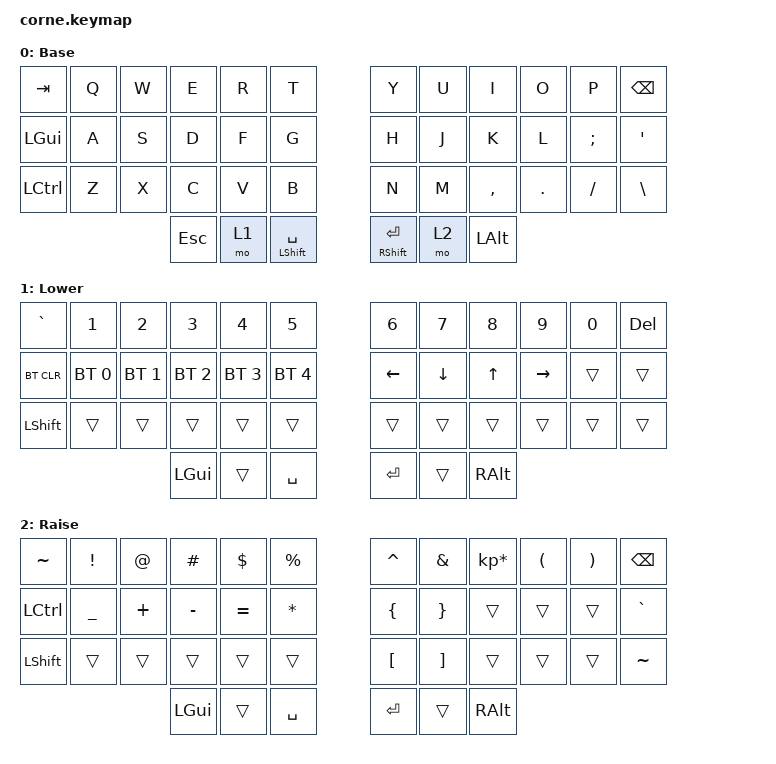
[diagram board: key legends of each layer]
l/*
 * Copyright (c) 2020 The ZMK Contributors
 *
 * SPDX-License-Identifier: MIT
 */

#include <behaviors.dtsi>
#include <dt-bindings/zmk/keys.h>
#include <dt-bindings/zmk/bt.h>

/ {
        keymap {
                compatible = "zmk,keymap";

                default_layer {
// -----------------------------------------------------------------------------------------
// |  TAB |  Q  |  W  |  E  |  R  |  T  |   |  Y  |  U   |  I  |  O  |  P  | BKSP |
// | windows key |  A  |  S  |  D  |  F  |  G  |   |  H  |  J   |  K  |  L  |  ;  |  '   |
// | ctrl |  Z  |  X  |  C  |  V  |  B  |   |  N  |  M   |  ,  |  .  |  /  | \  |
//                    | esc | LWR | SPC lshift when held |   | ENT rshoft when held | RSE  | alt |
                        display-name = "Base";
                        bindings = <
   &kp TAB   &kp Q &kp W &kp E &kp R &kp T   &kp Y &kp U  &kp I     &kp O   &kp P    &kp BSPC
   &kp LGUI  &kp A &kp S &kp D &kp F &kp G   &kp H &kp J  &kp K     &kp L   &kp SEMI &kp SQT
   &kp LCTRL &kp Z &kp X &kp C &kp V &kp B   &kp N &kp M  &kp COMMA &kp DOT &kp FSLH &kp BSLH
                  &kp ESC &mo 1 &mt LSHFT SPACE   &mt RSHFT RET &mo 2 &kp LALT
                        >;
                };
                lower_layer {
// -----------------------------------------------------------------------------------------
// |  ` tick |  1  |  2  |  3  |  4  |  5  |   |  6  |  7  |  8  |  9  |  0  | delete key |
// | BTCLR| BT1 | BT2 | BT3 | BT4 | BT5 |   | LFT | DWN |  UP | RGT |     |      |
// |  |     |     |     |     |     |   |     |     |     |     |     |      |
//                    |  |     |  |   |  |     |  |
                        display-name = "Lower";
                        bindings = <
   &kp GRAVE  &kp N1       &kp N2       &kp N3       &kp N4       &kp N5         &kp N6   &kp N7   &kp N8 &kp N9    &kp N0 &kp DEL
   &bt BT_CLR &bt BT_SEL 0 &bt BT_SEL 1 &bt BT_SEL 2 &bt BT_SEL 3 &bt BT_SEL 4   &kp LEFT &kp DOWN &kp UP &kp RIGHT &trans &trans
   &kp LSHFT  &trans       &trans       &trans       &trans       &trans         &trans   &trans   &trans &trans    &trans &trans
                          	        &kp LGUI     &trans       &kp SPACE      &kp RET  &trans   &kp RALT
                        >;
                };

                raise_layer {
// -----------------------------------------------------------------------------------------
// |  ~ |  !  |  @  |  #  |  $  |  %  |   |  ^  |  &  |  *  |  (  |  )  | BKSP |
// |  |  _  |  +  |  -  |   = |  *  |   |  {  |  }  |    |    |    |  `   |
// |  |     |     |     |     |     |   |  [  |  ]  |    |    |    |  ~   |
//                    | |     |  |   |  |     |  |
                        display-name = "Raise";
                        bindings = <
   &kp TILDE &kp EXCL  &kp AT    &kp HASH  &kp DLLR  &kp PRCNT   &kp CARET &kp AMPS  &kp KP_MULTIPLY &kp LPAR &kp RPAR &kp BSPC
   &kp LCTRL &kp UNDER &kp PLUS  &kp MINUS &kp EQUAL &kp ASTRK   &kp LBRC  &kp RBRC  &trans          &trans   &trans   &kp GRAVE
   &kp LSHFT &trans    &trans    &trans    &trans    &trans      &kp LBKT  &kp RBKT  &trans          &trans   &trans   &kp TILDE
                    	     &kp LGUI &trans   &kp SPACE   &kp RET   &trans    &kp RALT
                        >;
                };

                extra_1 {
                        status = "reserved";
                };

                extra_2 {
                        status = "reserved";
                };

                extra_3 {
                        status = "reserved";
                };
        };
};
